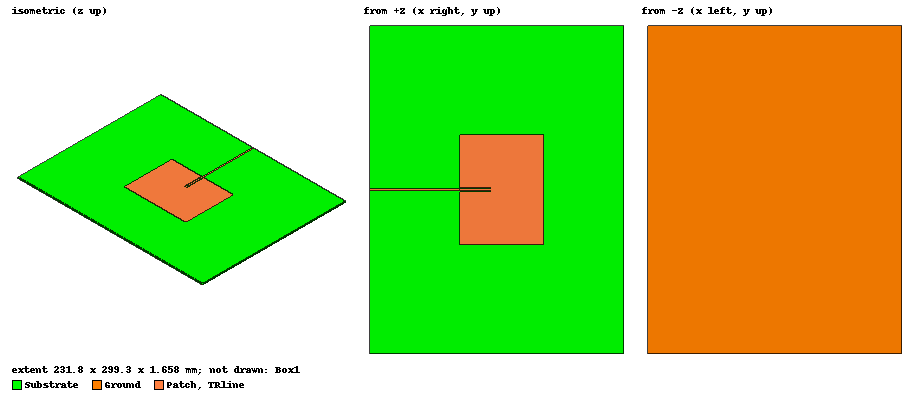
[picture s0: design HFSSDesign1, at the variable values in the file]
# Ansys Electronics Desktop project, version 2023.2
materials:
  vacuum: permittivity=1
  copper: permeability=0.999991 conductivity=58000000
  FR4_epoxy: permittivity=4.4 dielectric_loss_tangent=0.02
  air: permittivity=1.0006 permeability=1.0000004

design HFSSDesign1 (HFSS, HFSS Terminal Network, model units mm)
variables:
  Xpatch = 77.27mm
  Ypatch = 99.767315mm
  hSub = 1.588mm
  widthCT = 2mm
  Htrace = 0.035mm
  Ltrace = lambda/4
  D = 28.302mm
  S = 1mm
  c = 300000000m_per_sec
  f0 = 915MHz
  lambda = (c/f0) meter
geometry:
  Ground [copper] = rectangle(corner=(0mm, 0mm, 0mm), x_size=3*Xpatch, y_size=3*Ypatch)
  Substrate [FR4_epoxy] = box(corner=(0mm, 0mm, 0mm), size=(3*Xpatch, 3*Ypatch, hSub))
  Ground.thicken(0.035mm)
  TRline [copper] = rectangle(corner=(0mm, 1.5*Ypatch-(widthCT/2), Hsub+Htrace), x_size=Ltrace, y_size=widthCT)
  Patch [copper] = rectangle(corner=(Ltrace, Ypatch, hSub+Htrace), x_size=Xpatch, y_size=Ypatch)
  [TRline, Patch].thicken(0.035mm)
  Rectangle1 = rectangle(corner=(Ltrace, 1.5*Ypatch-(widthCT/2), hSub+Htrace+Htrace), x_size=D, y_size=-S)
  Rectangle1.thicken(0.035mm)
  Rectangle2 = rectangle(corner=(Ltrace, 1.5*Ypatch+(widthCT/2), hSub+Htrace), x_size=D, y_size=S)
  Rectangle2.thicken(0.035mm)
  Patch.subtract(Rectangle1, Rectangle2)
  Rectangle3 = rectangle(corner=(0mm, Ypatch*1.5 -(widthCT/2), 0mm), y_size=widthCT, z_size=hSub+Htrace*2)
  Box1 [air] = box(corner=(-lambda/4, -lambda/4, -lambda/4), size=(lambda/2+3*Xpatch, lambda/2+3*Ypatch, lambda/2))
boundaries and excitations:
  Rad1: Radiation Objects=Box1
  1: Lumped Port Objects=Rectangle3 LumpedPortType=Modal Modes{Mode1{IntLine{(0, 149.65097, 0.035) -> (0, 149.65097, 1.658)} CharImp=Zpi}} Impedance=50ohm
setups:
  Setup1: HfssDriven Frequency=915MHz MaxDeltaS=0.012 MaximumPasses=20 MinimumPasses=1 MinimumConvergedPasses=1 PercentRefinement=30 BasisOrder=1 PortAccuracy=2 DrivenSolverType="Direct Solver"
    sweep Sweep: 457.5MHz to 1372.5MHz, 401 points; Type=Fast SaveFields
  Setup2: HfssDriven Frequency=1GHz MaxDeltaS=0.015 MaximumPasses=20 MinimumPasses=1 MinimumConvergedPasses=1 PercentRefinement=30 BasisOrder=1 PortAccuracy=2 DrivenSolverType="Direct Solver"
    sweep Sweep: 0.8GHz to 1.7GHz, 401 points; Type=Fast SaveFields
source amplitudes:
  1:1: 1V 0deg
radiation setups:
  Infinite Sphere5: Infinite Sphere Theta=0deg..360deg step 1deg Phi=-180deg..180deg step 1deg
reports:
  Gain Plot 6: dB(GainTotal) vs Theta, Phi on Setup1 : LastAdaptive, Infinite Sphere5 [Freq=0.915GHz Xpatch=77.27mm widthCT=1.4mm S=1mm]
  S Parameter Plot 1: dB(S(1,1)) vs Freq on Setup1 : Sweep
  Gain Plot 7: dB(GainTotal) vs Phi, Theta on Setup1 : LastAdaptive, Infinite Sphere5 [Freq=0.915GHz Xpatch=77.27mm widthCT=1.4mm S=1mm]
  S Parameter Plot 2: dB(S(1,1)) vs Freq on Setup1 : Sweep
  S Parameter Plot 3: dB(S(1,1)) vs Freq on Setup1 : Sweep [D=all]
